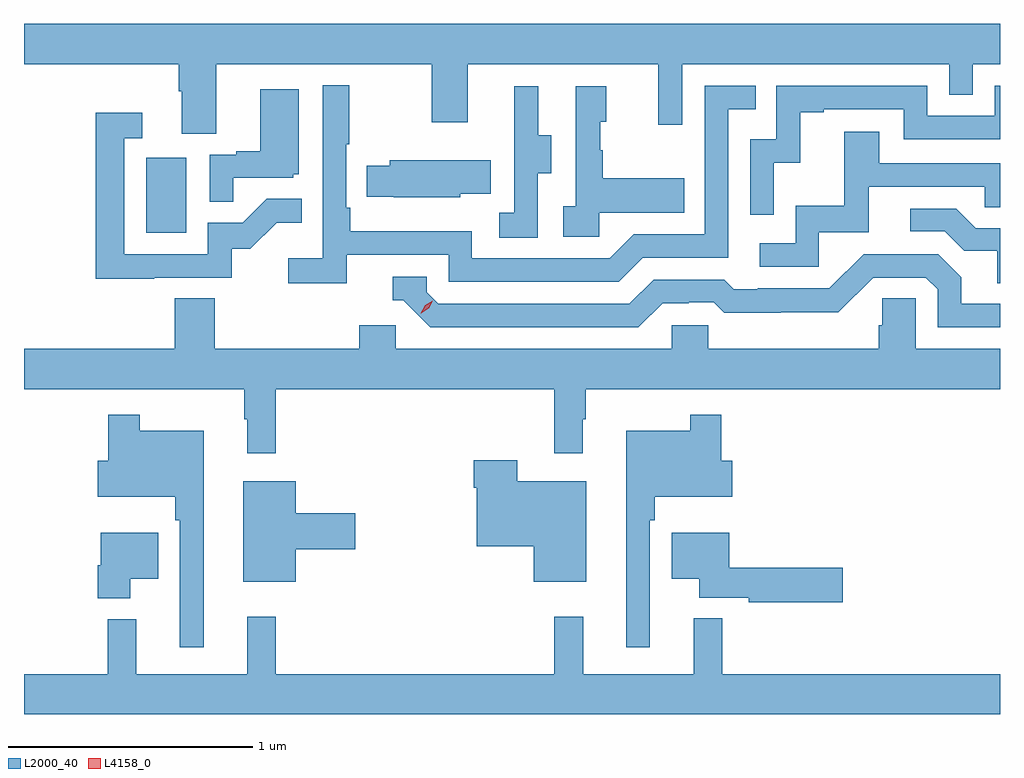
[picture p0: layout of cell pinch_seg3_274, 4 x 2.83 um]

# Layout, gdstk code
import gdstk
lib = gdstk.Library(unit=1e-6, precision=1e-09)
def R(c, l, rs):  # rectangles x0, y0, x1, y1
    for r in rs: c.add(gdstk.rectangle(r[:2], r[2:], *l))
def P(c, l, *ps):  # polygons
    for p in ps: c.add(gdstk.Polygon(p, *l))
L2000_40 = (2000, 40)
L4158_0 = (4158, 0)

pinch_seg3_274 = lib.new_cell('pinch_seg3_274')
R(pinch_seg3_274, L2000_40, [(911.684,717.54,911.848,717.847)])
P(pinch_seg3_274, L2000_40, [(911.971,718.232),(912.856,718.232),(912.856,717.993),(913.003,717.993),(913.003,718.232),(913.784,718.232),(913.784,717.984),(913.881,717.984),(913.881,718.232),(914.976,718.232),(914.976,718.105),(915.072,718.105),(915.072,718.232),(915.184,718.232),(915.184,718.396),(911.184,718.396),(911.184,718.232),(911.819,718.232),(911.819,718.12),(911.831,718.12),(911.831,717.946),(911.971,717.946)],
  [(912.506,717.45),(912.924,717.45),(912.924,717.339),(913.621,717.339),(913.72,717.438),(914.07,717.438),(914.07,718.047),(914.183,718.047),(914.183,718.143),(913.974,718.143),(913.974,717.534),(913.683,717.534),(913.584,717.435),(913.02,717.435),(913.02,717.547),(912.521,717.547),(912.521,717.643),(912.504,717.643),(912.504,717.904),(912.517,717.904),(912.517,718.144),(912.408,718.144),(912.408,717.436),(912.267,717.436),(912.267,717.334),(912.506,717.334)],
  [(914.256,717.827),(914.366,717.827),(914.366,718.035),(914.461,718.035),(914.461,718.047),(914.79,718.047),(914.79,717.924),(915.184,717.924),(915.184,718.143),(915.162,718.143),(915.162,718.02),(914.886,718.02),(914.886,718.143),(914.268,718.143),(914.268,717.924),(914.16,717.924),(914.16,717.615),(914.256,717.615)],
  [(913.29,717.784),(913.345,717.784),(913.345,717.939),(913.291,717.939),(913.291,718.141),(913.193,718.141),(913.193,717.927),(913.194,717.927),(913.194,717.623),(913.131,717.623),(913.131,717.52),(913.29,717.52)],
  [(913.542,717.623),(913.889,717.623),(913.889,717.763),(913.555,717.763),(913.555,717.878),(913.545,717.878),(913.545,717.996),(913.57,717.996),(913.57,718.141),(913.446,718.141),(913.446,717.65),(913.395,717.65),(913.395,717.525),(913.542,717.525)],
  [(912.041,717.765),(912.288,717.765),(912.288,717.78),(912.31,717.78),(912.31,718.129),(912.152,718.129),(912.152,717.874),(912.053,717.874),(912.053,717.861),(911.946,717.861),(911.946,717.667),(912.041,717.667)],
  [(911.717,717.357),(912.036,717.357),(912.036,717.474),(912.112,717.474),(912.219,717.581),(912.323,717.581),(912.323,717.68),(912.179,717.68),(912.081,717.582),(911.937,717.582),(911.937,717.453),(911.595,717.453),(911.595,717.927),(911.668,717.927),(911.668,718.033),(911.479,718.033),(911.479,717.352),(911.717,717.352)],
  [(914.442,717.543),(914.647,717.543),(914.647,717.729),(915.121,717.729),(915.121,717.645),(915.184,717.645),(915.184,717.825),(914.689,717.825),(914.689,717.955),(914.545,717.955),(914.545,717.652),(914.346,717.652),(914.346,717.498),(914.199,717.498),(914.199,717.402),(914.442,717.402)],
  [(912.972,717.701),(913.097,717.701),(913.097,717.838),(912.683,717.838),(912.683,717.816),(912.589,717.816),(912.589,717.687),(912.7,717.687),(912.7,717.686),(912.972,717.686)],
  [(915.184,717.558),(915.085,717.558),(915.004,717.639),(914.817,717.639),(914.817,717.546),(914.958,717.546),(915.038,717.466),(915.173,717.466),(915.173,717.334),(915.184,717.334)],
  [(913.801,717.252),(913.908,717.252),(913.908,717.255),(914.011,717.255),(914.053,717.213),(914.286,717.213),(914.286,717.215),(914.522,717.215),(914.664,717.357),(914.88,717.357),(914.928,717.309),(914.928,717.153),(915.184,717.153),(915.184,717.249),(915.025,717.249),(915.025,717.359),(914.931,717.453),(914.625,717.453),(914.484,717.312),(914.191,717.312),(914.191,717.309),(914.092,717.309),(914.053,717.348),(913.764,717.348),(913.665,717.249),(912.882,717.249),(912.834,717.297),(912.834,717.36),(912.695,717.36),(912.695,717.264),(912.738,717.264),(912.849,717.153),(913.702,717.153)],
  [(912.708,717.162),(912.557,717.162),(912.557,717.064),(911.966,717.064),(911.966,717.272),(911.801,717.272),(911.801,717.064),(911.184,717.064),(911.184,716.9),(912.087,716.9),(912.087,716.777),(912.098,716.777),(912.098,716.637),(912.215,716.637),(912.215,716.9),(913.357,716.9),(913.357,716.637),(913.474,716.637),(913.474,716.777),(913.486,716.777),(913.486,716.9),(915.184,716.9),(915.184,717.064),(914.838,717.064),(914.838,717.272),(914.701,717.272),(914.701,717.162),(914.687,717.162),(914.687,717.064),(913.989,717.064),(913.989,717.162),(913.839,717.162),(913.839,717.064),(912.708,717.064)],
  [(911.92,716.728),(911.659,716.728),(911.659,716.794),(911.53,716.794),(911.53,716.607),(911.486,716.607),(911.486,716.459),(911.803,716.459),(911.803,716.363),(911.823,716.363),(911.823,715.842),(911.92,715.842)],
  [(913.749,716.363),(913.769,716.363),(913.769,716.459),(914.086,716.459),(914.086,716.607),(914.042,716.607),(914.042,716.794),(913.914,716.794),(913.914,716.728),(913.652,716.728),(913.652,715.842),(913.749,715.842)],
  [(913.489,716.521),(913.206,716.521),(913.206,716.608),(913.028,716.608),(913.028,716.495),(913.04,716.495),(913.04,716.255),(913.274,716.255),(913.274,716.111),(913.489,716.111)],
  [(912.298,716.243),(912.541,716.243),(912.541,716.39),(912.298,716.39),(912.298,716.521),(912.083,716.521),(912.083,716.111),(912.298,716.111)],
  [(914.539,716.168),(914.074,716.168),(914.074,716.311),(913.838,716.311),(913.838,716.123),(913.952,716.123),(913.952,716.045),(914.154,716.045),(914.154,716.026),(914.539,716.026)],
  [(911.62,716.123),(911.734,716.123),(911.734,716.311),(911.498,716.311),(911.498,716.178),(911.486,716.178),(911.486,716.042),(911.62,716.042)],
  [(915.184,715.732),(914.045,715.732),(914.045,715.96),(913.928,715.96),(913.928,715.732),(913.475,715.732),(913.475,715.966),(913.357,715.966),(913.357,715.732),(912.215,715.732),(912.215,715.966),(912.098,715.966),(912.098,715.732),(911.645,715.732),(911.645,715.957),(911.527,715.957),(911.527,715.732),(911.184,715.732),(911.184,715.568),(915.184,715.568)])
P(pinch_seg3_274, L4158_0, [(912.811,717.21),(912.811,717.21),(912.828,717.243),(912.859,717.262),(912.859,717.262),(912.859,717.262),(912.843,717.23),(912.812,717.21)])

lib.write_gds('pinch_seg3_274.gds')
